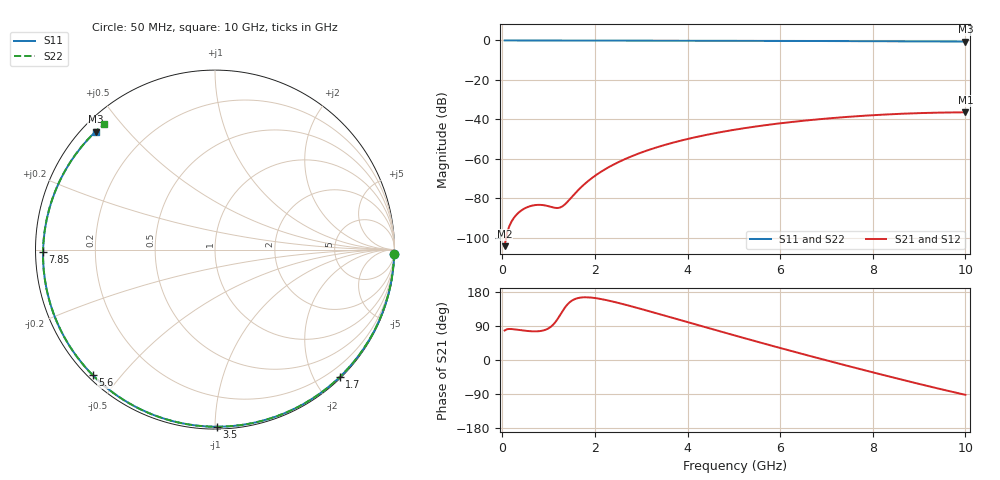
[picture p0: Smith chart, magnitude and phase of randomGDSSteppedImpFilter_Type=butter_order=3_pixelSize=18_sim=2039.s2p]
! freq	dB(S11)	phase(S11)	dB(S12)	phase(S12)
!  dB(S21)	phase(S21)	dB(S22)	phase(S22)
!S-par simulation data
#  GHz  S  DB  R 50
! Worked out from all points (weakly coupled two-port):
!   200 points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, 50 MHz to 10 GHz, reference 50 ohm
!   highest |S21| = -36.47 dB at 10 GHz (marker M1); lowest = -104.4 dB at 50 MHz (marker M2)
!   lowest |S11| = -0.6 dB at 10 GHz (marker M3), VSWR 29.90, Z = 1.95 + j20.5 ohm
!   |S11| at or under -10 dB: nowhere
!   |S22| runs from -0.6 to 0.0 dB; largest |S21 - S12| = 0
!   S11 on the Smith chart (normalised r, x): 50 MHz: 4, -86; 1.7 GHz: 0.02, -2.37; 3.5 GHz: 0.01, -1.01; 5.6 GHz: 0.01, -0.42; 7.85 GHz: 0.02, -0.01; 10 GHz: 0.04, +0.41
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0.05  -0.01 -1.3  -104.39 77.8  -104.39 77.8  -0.01 -1.3
0.7  -0.03 -19.1  -83.57 75.5  -83.57 75.5  -0.03 -19.1
1.05  -0.04 -28.6  -84.43 87.8  -84.43 87.8  -0.04 -28.6
1.45  -0.05 -39.2  -80.77 151.8  -80.77 151.8  -0.05 -39.2
1.5  -0.05 -40.5  -79.45 156.5  -79.45 156.5  -0.05 -40.5
1.7  -0.06 -45.7  -74.51 164.8  -74.51 164.8  -0.06 -45.7
1.75  -0.06 -47.0  -73.42 165.4  -73.42 165.4  -0.06 -47.0
2.05  -0.07 -54.6  -67.89 162.6  -67.89 162.6  -0.07 -54.7
2.45  -0.08 -64.6  -62.42 152.3  -62.42 152.3  -0.08 -64.7
2.9  -0.09 -75.5  -57.77 137.9  -57.77 137.9  -0.09 -75.7
3.4  -0.11 -87.2  -53.77 120.8  -53.77 120.8  -0.11 -87.4
3.5  -0.11 -89.5  -53.08 117.4  -53.08 117.4  -0.11 -89.8
4.25  -0.14 -106.2  -48.69 91.3  -48.69 91.3  -0.14 -106.6
5.05  -0.18 -123.1  -45.17 63.7  -45.17 63.7  -0.18 -123.7
5.6  -0.21 -134.3  -43.25 45.1  -43.25 45.1  -0.21 -135.1
6.15  -0.24 -145.4  -41.64 26.7  -41.64 26.7  -0.24 -146.4
6.7  -0.28 -156.3  -40.29 8.8  -40.29 8.8  -0.28 -157.5
7.3  -0.33 -168.1  -39.06 -10.5  -39.06 -10.5  -0.33 -169.7
7.85  -0.37 -179.1  -38.15 -27.9  -38.15 -27.9  -0.38 179.0
8.35  -0.42 170.8  -37.49 -43.4  -37.49 -43.4  -0.43 168.4
9.15  -0.50 154.1  -36.78 -67.6  -36.78 -67.6  -0.51 151.0
10  -0.58 135.4  -36.47 -91.9  -36.47 -91.9  -0.60 131.3
